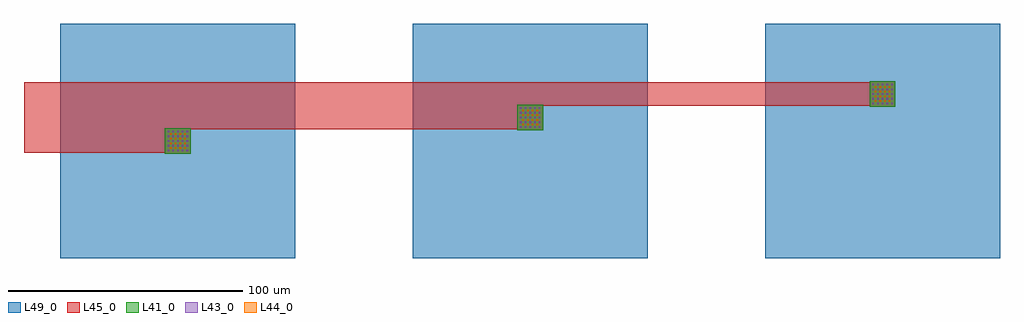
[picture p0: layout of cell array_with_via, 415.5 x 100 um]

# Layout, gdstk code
import gdstk
lib = gdstk.Library(unit=1e-6, precision=1e-09)
def R(c, l, rs):  # rectangles x0, y0, x1, y1
    for r in rs: c.add(gdstk.rectangle(r[:2], r[2:], *l))
L41_0 = (41, 0)
L43_0 = (43, 0)
L44_0 = (44, 0)
L45_0 = (45, 0)
L49_0 = (49, 0)

compass_642a0e00 = lib.new_cell('compass_642a0e00')
R(compass_642a0e00, L49_0, [(-50,-50,50,50)])

pad = lib.new_cell('pad')
pad.add(gdstk.Reference(compass_642a0e00, (0,0)))

compass_layerm1_size11p0 = lib.new_cell('compass_layerM1_size11p0__11p0')
R(compass_layerm1_size11p0, L41_0, [(-5.5,-5.5,5.5,5.5)])

compass_layerm2_size11p0 = lib.new_cell('compass_layerM2_size11p0__11p0')
R(compass_layerm2_size11p0, L45_0, [(-5.5,-5.5,5.5,5.5)])

compass_b9af6554 = lib.new_cell('compass_b9af6554')
R(compass_b9af6554, L49_0, [(-5.5,-5.5,5.5,5.5)])

via_enclosure2_layervia1 = lib.new_cell('via_enclosure2_layerVIA1')
R(via_enclosure2_layervia1, L44_0, [(-0.35,-0.35,0.35,0.35)])

via_layervia2 = lib.new_cell('via_layerVIA2')
R(via_layervia2, L43_0, [(-0.35,-0.35,0.35,0.35)])

via_stack = lib.new_cell('via_stack')
via_stack.add(gdstk.Reference(compass_layerm1_size11p0, (0,0)))
via_stack.add(gdstk.Reference(compass_layerm2_size11p0, (0,0)))
via_stack.add(gdstk.Reference(compass_b9af6554, (0,0)))
r = gdstk.Reference(via_enclosure2_layervia1, (-3,-3)); r.repetition = gdstk.Repetition(4, 4, v1=(2,0), v2=(0,2)); via_stack.add(r)
r = gdstk.Reference(via_layervia2, (-4,-4)); r.repetition = gdstk.Repetition(5, 5, v1=(2,0), v2=(0,2)); via_stack.add(r)

straight_73cad70c = lib.new_cell('straight_73cad70c')
R(straight_73cad70c, L45_0, [(0,-5,60,5)])

straight_c48eb652 = lib.new_cell('straight_c48eb652')
R(straight_c48eb652, L45_0, [(0,-5,210,5)])

straight_10ac1502 = lib.new_cell('straight_10ac1502')
R(straight_10ac1502, L45_0, [(0,-5,360,5)])

array_with_via = lib.new_cell('array_with_via')
array_with_via.add(gdstk.Reference(pad, (0,0)))
array_with_via.add(gdstk.Reference(via_stack, (0,0)))
array_with_via.add(gdstk.Reference(straight_73cad70c, (-65.5,0)))
array_with_via.add(gdstk.Reference(pad, (150,0)))
array_with_via.add(gdstk.Reference(via_stack, (150,10)))
array_with_via.add(gdstk.Reference(straight_c48eb652, (-65.5,10)))
array_with_via.add(gdstk.Reference(pad, (300,0)))
array_with_via.add(gdstk.Reference(via_stack, (300,20)))
array_with_via.add(gdstk.Reference(straight_10ac1502, (-65.5,20)))

lib.write_gds('array_with_via.gds')
